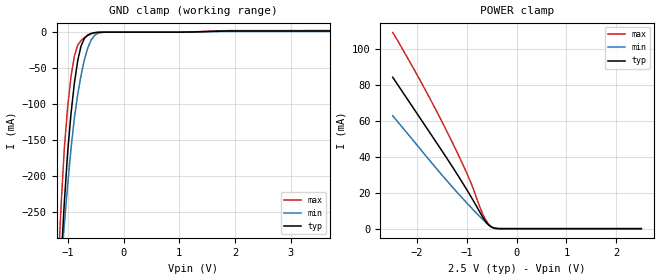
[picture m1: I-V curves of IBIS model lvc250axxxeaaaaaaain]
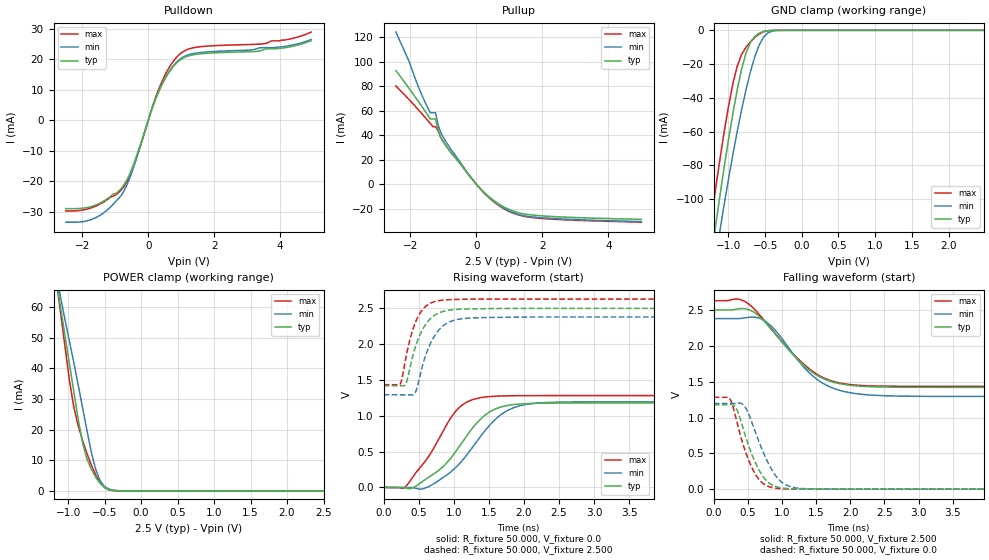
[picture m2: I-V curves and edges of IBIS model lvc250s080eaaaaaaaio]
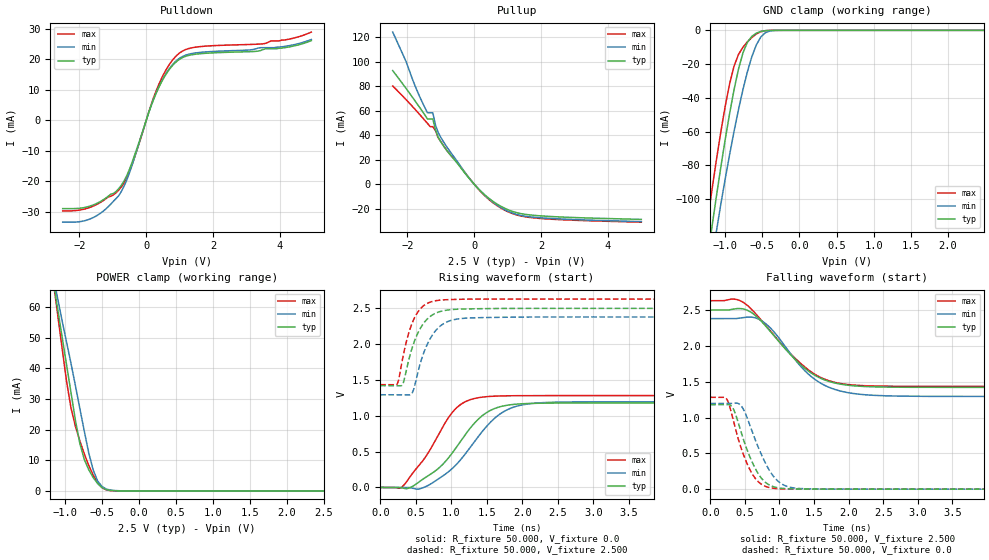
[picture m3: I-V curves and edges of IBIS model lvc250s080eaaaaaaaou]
| IBIS Models Generator: Lattice Diamond Version 3.5.0.102
| Generate date: Sun Jul 03 23:32:24 2022
| IBIS File
| Lattice Semiconductor Corporation
[IBIS ver]   4.2
[File Name]   HyperRAM_hyperram.ibs
[File Rev]   2.0
[Date]   Mon Apr 13 18:17:38 PDT 2015
[Source]   Lattice Semiconductor umc40lp Process
   LFE5U-25F   FINAL
   Lattice Semiconductor has worked hard to ensure the
   models below are accurate and complete.  However, the
   data below was generated using simulation of the
   input/output model files for the silicon.  Therefore,
   the data below is for reference and initial design
   purposes only.
   Lattice Semiconductor grants permission to use this
   data for use in printed circuit design using this
   Lattice programmable logic device.  Other use of this
   code, including the selling or duplication of any
   portion is strictly prohibited.
|   NAMING CONVENTION
   The IBIS [Model] header is limited by the specification to a
   total of characters.  With such a set of characters available
   for naming models it becomes important to attempt to
   meaningfully encode the IO standards so they fit within the
   twenty character limit.  It would seem that twenty characters
   would provide room enough for describing IO's.  However, the
   PLD IO structure continues to grow more and more complex.  The
   complexity is making the twenty characters insuffiently
   descriptive.  In order to overcome this issue the naming
   convention described below is implemented to resolve the issue.
The twenty character space is managed as follows:
   bbbvvvsdddprttaaoixx
   b = standard
   v = voltage (x.xx V)
   s = slew code
   d = drive (xx.x ma)
   p = pullmode code
   r = impedance
   t = termination code
   o = diff resistor code
   i = diff  current code
   x = reserved
   standard
   LVCMOS   lvc
   lvcmosd   lvd
   LVDS25e   lve
   LVTTL   lvt
   lvttld   ltd
   sstl_I   ss1
   sstl_II   ss2
   sstld_I   s1d
   sstld_II   s2d
   hsul12   hs1
   hsul12d   h1d
   lvds   lvs
   blvds25   blv
   blvds25e   blv
   mlvds   mlv
   mlvds25e   mle
   lvpecl33   lvp
   lvpecl33e   lvp
   sublvds   slv
   slvs   svs
   slvs15e   sve
   mipi   mip
   vref1   vr1
   slew
   na   a
   fast   f
   slow   s
   pullmode
   off   a
   clamp   e
   impedance
   off   a
   termination
   off   aa
   50   cc
   75   dd
   150   ee
   differential resistor
   off   a
   100   b
   differential current
   NA   a
   3.5   c
   Reserved   IO type
   in   input only
   ou   output
   io   I/O
   od   Open drain
   on   Inverting differential I/O
   (signal name only)
   op   Non-Inverting differential I/O
   (signal name only)
   All the IO models are generated with pull mode set to none.
   Lattice Semiconductor Corporation
   5555 NE Moore Court
   Hillsboro, OR 97214
   U.S.A
   TEL: 1-800-Lattice (USA and Canada)
   408-826-6000 (other locations)
   web: http://www.latticesemi.com/
   email: techsupport@latticesemi.com
The IBIS models by default includes the worst case package data
under [package].  If detailed package model is required , it can be
enable using [package model] keyword.
The .pkg files are included in the zip file with the IBIS models.
The .pkg file has to be located in the same directory as IBIS file.
[Disclaimer] This IBIS source code is intended as a design reference
   which illustrates how the Lattice Semiconductor device operates.
   It is the user's responsibility to verify their design for
   consistency and functionality through the use of formal
   verification methods.  Lattice Semiconductor provides no warranty
   regarding the use or functionality of this data.
[Copyright]   Copyright 2007 by Lattice Semiconductor Corporation
|   Component SAPPHIRE
[Component]   SAPPHIRE
[Manufacturer]   Lattice Semiconductor Corp.
[Package]
|CSFBGA285
| variable   typ   min   max
R_pkg   64.450m   23.9m   84m
L_pkg   1.395nH   0.37nH   2.15nH
C_pkg   0.56pF   0.19pF   0.65pF
[Pin]  signal_name   model_name   R_pin   L_pin   C_pin
M17   DQ_test[6]   lvc250s080eaaaaaaaio
M16   DQ_test[5]   lvc250s080eaaaaaaaio
L16   estado_test   lvc250s080eaaaaaaaou
L15   DQ_test[31]   lvc250s080eaaaaaaaio
L18   DQ_test[23]   lvc250s080eaaaaaaaio
K17   DQ_test[15]   lvc250s080eaaaaaaaio
K15   DQ_test[22]   lvc250s080eaaaaaaaio
K16   DQ_test[14]   lvc250s080eaaaaaaaio
K18   DQ_test[13]   lvc250s080eaaaaaaaio
J18   DQ_test[21]   lvc250s080eaaaaaaaio
J17   DQ_test[28]   lvc250s080eaaaaaaaio
J16   DQ_test[10]   lvc250s080eaaaaaaaio
H16   DQ_test[2]   lvc250s080eaaaaaaaio
H15   DQ_test[11]   lvc250s080eaaaaaaaio
G15   DQ_test[3]   lvc250s080eaaaaaaaio
C15   clk_out_test   lvc250s080eaaaaaaaou
N15   CS_n_test   lvc250s080eaaaaaaaou
N16   DQ_test[30]   lvc250s080eaaaaaaaio
N17   DQ_test[29]   lvc250s080eaaaaaaaio
M18   DQ_test[7]   lvc250s080eaaaaaaaio
N18   DQ_test[9]   lvc250s080eaaaaaaaio
R18   DQ_test[8]   lvc250s080eaaaaaaaio
T18   reset_test   lvc250axxxeaaaaaaain
U18   DQ_test[12]   lvc250s080eaaaaaaaio
R17   DQ_test[24]   lvc250s080eaaaaaaaio
T17   DQ_test[25]   lvc250s080eaaaaaaaio
U17   DQ_test[0]   lvc250s080eaaaaaaaio
V17   DQ_test[1]   lvc250s080eaaaaaaaio
R16   DQ_test[20]   lvc250s080eaaaaaaaio
B10   clk_in_test   lvc250axxxeaaaaaaain
M2   DQ_test[18]   lvc250s080eaaaaaaaio
K2   DQ_test[19]   lvc250s080eaaaaaaaio
K3   DQ_test[27]   lvc250s080eaaaaaaaio
M3   DQ_test[26]   lvc250s080eaaaaaaaio
L4   DQ_test[16]   lvc250s080eaaaaaaaio
K4   DQ_test[17]   lvc250s080eaaaaaaaio
J1   DQ_test[4]   lvc250s080eaaaaaaaio
| Models and submodels in the file (3): lvc250axxxeaaaaaaain (Input), lvc250s080eaaaaaaaio (I/O), lvc250s080eaaaaaaaou (Output)
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[Model] lvc250axxxeaaaaaaain
Model_type Input
Polarity   Non-Inverting
Vinl =  0.700V
Vinh =  1.700V
C_comp   3.899pF   3.881pF   3.925pF
[Temperature Range]   25.000   0.125k   -40.000
[Voltage Range]   2.500V   2.380V   2.630V
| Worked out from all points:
|   GND clamp passes 1 mA (typ) near -0.54 V on its own axis
|   POWER clamp passes 1 mA (typ) near -0.51 V on its own axis
[GND_clamp]
|Voltage   I(typ)   I(min)   I(max)
-2.5V     -3.07A     -2.187A    -4.081A
-1.18V    -407.1mA   -387.7mA   -341.4mA
-1.12V    -318.4mA   -325.7mA   -243.5mA
-1.06V    -236.4mA   -267.1mA   -161.1mA
-1V       -166.1mA   -212mA     -103.6mA
-940mV    -112.8mA   -161.5mA   -61.35mA
-820mV    -39.36mA   -86.41mA   -17.99mA
-760mV    -19.05mA   -59.65mA   -11.43mA
-640mV    -3.861mA   -21.85mA   -4.556mA
-520mV    -690.7uA   -4.492mA   -828.9uA
-340mV    -8.603uA   -109.8uA   -6.557uA
4.98V     1.752mA    1.203mA    2.322mA
[POWER_clamp]
|Voltage   I(typ)   I(min)   I(max)
-2.48V    84.32mA    62.88mA    109.3mA
-1.94V    61.91mA    44.74mA    83.06mA
-1.46V    41.93mA    28.79mA    57.77mA
-1.16V    29.03mA    19.33mA    40.78mA
-980mV    20.95mA    13.86mA    29.88mA
-860mV    15.32mA    10.31mA    21.76mA
-740mV    9.474mA    6.847mA    12.43mA
-680mV    6.568mA    5.18mA     8.377mA
-560mV    2.092mA    2.141mA    2.486mA
-500mV    818.1uA    1.015mA    868.6uA
-320mV    4.853uA    22.67uA    1.291uA
2.5V      -341.3nA   -32nA      -512.6nA
[Model] lvc250s080eaaaaaaaio
Model_type I/O
Polarity   Non-Inverting
Enable   Active-Low
Vinl =  0.700V
Vinh =  1.700V
Vmeas =  1.250V
Cref =  0.0F
Rref =  1.000M
Vref =  0.0V
C_comp   5.000pF   4.000pF   5.500pF
[Temperature Range]   25.000   0.125k   -40.000
[Voltage Range]   2.500V   2.380V   2.630V
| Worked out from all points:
|   slope of the pulldown table from 0 to 0.375 V, typ, clamps not added: 34.9 ohm
|   slope of the pullup table from 0 to 0.375 V, typ, clamps not added: 37.3 ohm
|   GND clamp passes 1 mA (typ) near -0.54 V on its own axis
|   POWER clamp passes 1 mA (typ) near -0.49 V on its own axis
|   rising waveform, R_fixture 50.000, V_fixture 0.0: 20-80 % time 588ps typ, 614ps min, 495ps max; typ from 0 V to 1.18 V
|   rising waveform, R_fixture 50.000, V_fixture 2.500: 20-80 % time 238ps typ, 252ps min, 203ps max; typ from 1.42 V to 2.5 V
|   falling waveform, R_fixture 50.000, V_fixture 2.500: 20-80 % time 640ps typ, 594ps min, 698ps max; typ from 2.5 V to 1.42 V
|   falling waveform, R_fixture 50.000, V_fixture 0.0: 20-80 % time 281ps typ, 321ps min, 265ps max; typ from 1.18 V to 0 V
[Pulldown]
|Voltage   I(typ)   I(min)   I(max)
-2.5V     -29mA      -33.45mA   -29.74mA
-1.54V    -27.59mA   -31.68mA   -27.93mA
-1.14V    -24.97mA   -28.41mA   -25.2mA
-740mV    -21.24mA   -23.27mA   -21.81mA
-420mV    -13.7mA    -14.59mA   -14.42mA
60mV      2.026mA    2.064mA    2.192mA
300mV     8.946mA    9.108mA    9.732mA
620mV     15.57mA    15.83mA    17.06mA
940mV     19.56mA    19.88mA    21.55mA
1.42V     21.58mA    21.99mA    23.88mA
3.5V      23.2mA     23.8mA     25.08mA
4.94V     26.12mA    26.49mA    28.92mA
[Pullup]
|Voltage   I(typ)   I(min)   I(max)
-2.44V    92.93mA    124.4mA    80.33mA
-2.04V    78.33mA    100.3mA    69.18mA
-1.48V    56.75mA    62.79mA    52.24mA
-1.4V     53.32mA    58.48mA    49.81mA
-1.24V    53.32mA    58.48mA    47.1mA
-1.16V    44.56mA    48.35mA    43.82mA
-1V       34.69mA    38.28mA    34.86mA
-120mV    3.778mA    3.962mA    4.059mA
520mV     -13.17mA   -13.8mA    -14.24mA
1.08V     -21.58mA   -22.85mA   -23.28mA
1.64V     -24.99mA   -26.54mA   -27.06mA
5V        -28.73mA   -30.54mA   -31.01mA
[GND_clamp]
|Voltage   I(typ)   I(min)   I(max)
-2.5V     -600.3mA   -576.2mA   -594.4mA
-1.24V    -136mA     -154.5mA   -113.9mA
-1.18V    -117.2mA   -136.7mA   -95.27mA
-1.12V    -99.04mA   -119.7mA   -77.45mA
-1V       -64.9mA    -88.21mA   -45.19mA
-880mV    -35.12mA   -59.82mA   -21.21mA
-760mV    -13.33mA   -35.03mA   -10mA
-700mV    -7.01mA    -24.46mA   -6.829mA
-580mV    -1.679mA   -8.593mA   -2.127mA
-460mV    -210.1uA   -1.441mA   -213.7uA
-340mV    -8.598uA   -109.2uA   -6.553uA
2.48V     0A         0A         0A
[POWER_clamp]
|Voltage   I(typ)   I(min)   I(max)
-2.48V    301.8mA    269mA      334.4mA
-1.16V    68.59mA    70.21mA    68.47mA
-1.1V     59.33mA    62.74mA    57.51mA
-980mV    41.18mA    48.59mA    35.82mA
-920mV    32.13mA    41.65mA    27.11mA
-860mV    23.04mA    34.34mA    21.08mA
-800mV    15.49mA    26.9mA     16.35mA
-740mV    10.29mA    19.52mA    12.1mA
-620mV    4.381mA    6.888mA    5.184mA
-560mV    2.412mA    3.25mA     2.719mA
-440mV    397.7uA    604uA      311uA
2.5V      0A         0A         0A
[Ramp]
| variable   typ   min   max
dV/dt_r 0.707/0.589n   0.717/0.626n   0.769/0.501n
dV/dt_f 0.647/0.648n   0.652/0.602n   0.717/0.706n
R_load = 50.000
[Rising Waveform]
R_fixture= 50.000
V_fixture= 0.0
V_fixture_min= 0.0
V_fixture_max= 0.0
|time   V(typ)   V(min)   V(max)
0s        0V         0V         0V
302ps     -5.322mV   -135.2uV   4mV
424ps     -18.48uV   -4.353mV   156.7mV
681ps     168mV      32.1mV     493.5mV
870ps     313.4mV    153.5mV    828.5mV
1.053ns   535.9mV    302.4mV    1.092V
1.429ns   996.8mV    773.6mV    1.26V
1.788ns   1.148V     1.085V     1.279V
2.303ns   1.176V     1.185V     1.282V
10ns      1.179V     1.196V     1.282V
[Rising Waveform]
R_fixture= 50.000
V_fixture= 2.500
V_fixture_min= 2.380
V_fixture_max= 2.630
|time   V(typ)   V(min)   V(max)
0s        1.421V     1.294V     1.435V
240ps     1.421V     1.294V     1.448V
320ps     1.45V      1.294V     1.827V
439ps     1.919V     1.303V     2.27V
524ps     2.145V     1.589V     2.442V
629ps     2.316V     1.926V     2.551V
824ps     2.45V      2.237V     2.613V
1.074ns   2.488V     2.35V      2.626V
1.661ns   2.499V     2.375V     2.63V
10ns      2.5V       2.38V      2.63V
[Falling Waveform]
R_fixture= 50.000
V_fixture= 2.500
V_fixture_min= 2.380
V_fixture_max= 2.630
|time   V(typ)   V(min)   V(max)
0s        2.5V       2.38V      2.63V
412ps     2.521V     2.386V     2.638V
563ps     2.484V     2.402V     2.542V
723ps     2.359V     2.361V     2.375V
914ps     2.149V     2.203V     2.155V
1.406ns   1.657V     1.617V     1.675V
1.654ns   1.524V     1.449V     1.535V
1.956ns   1.455V     1.353V     1.464V
2.933ns   1.422V     1.296V     1.435V
10ns      1.421V     1.294V     1.435V
[Falling Waveform]
R_fixture= 50.000
V_fixture= 0.0
V_fixture_min= 0.0
V_fixture_max= 0.0
|time   V(typ)   V(min)   V(max)
0s        1.179V     1.196V     1.282V
243ps     1.181V     1.196V     1.249V
332ps     1.122V     1.198V     962.6mV
442ps     808.2mV    1.168V     585.3mV
652ps     285.8mV    685.3mV    148.2mV
766ps     123.7mV    426.2mV    53.02mV
903ps     37.7mV     192.5mV    13.99mV
1.104ns   6.835mV    40.59mV    2.834mV
1.432ns   1.588mV    4.13mV     1.107mV
10ns      0V         0V         0V
[Model] lvc250s080eaaaaaaaou
Model_type  Output
Polarity   Non-Inverting
Enable   Active-Low
Vmeas =  1.250V
Cref =  0.0F
Rref =  1.000M
Vref =  0.0V
C_comp   5.000pF   4.000pF   5.500pF
[Temperature Range]   25.000   0.125k   -40.000
[Voltage Range]   2.500V   2.380V   2.630V
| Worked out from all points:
|   slope of the pulldown table from 0 to 0.375 V, typ, clamps not added: 34.9 ohm
|   slope of the pullup table from 0 to 0.375 V, typ, clamps not added: 37.3 ohm
|   GND clamp passes 1 mA (typ) near -0.54 V on its own axis
|   POWER clamp passes 1 mA (typ) near -0.49 V on its own axis
|   rising waveform, R_fixture 50.000, V_fixture 0.0: 20-80 % time 588ps typ, 614ps min, 495ps max; typ from 0 V to 1.18 V
|   rising waveform, R_fixture 50.000, V_fixture 2.500: 20-80 % time 238ps typ, 252ps min, 203ps max; typ from 1.42 V to 2.5 V
|   falling waveform, R_fixture 50.000, V_fixture 2.500: 20-80 % time 640ps typ, 594ps min, 698ps max; typ from 2.5 V to 1.42 V
|   falling waveform, R_fixture 50.000, V_fixture 0.0: 20-80 % time 281ps typ, 321ps min, 265ps max; typ from 1.18 V to 0 V
[Pulldown]
|Voltage   I(typ)   I(min)   I(max)
-2.5V     -29mA      -33.45mA   -29.74mA
-1.54V    -27.59mA   -31.68mA   -27.93mA
-1.14V    -24.97mA   -28.41mA   -25.2mA
-740mV    -21.24mA   -23.27mA   -21.81mA
-420mV    -13.7mA    -14.59mA   -14.42mA
60mV      2.026mA    2.064mA    2.192mA
300mV     8.946mA    9.108mA    9.732mA
620mV     15.57mA    15.83mA    17.06mA
940mV     19.56mA    19.88mA    21.55mA
1.42V     21.58mA    21.99mA    23.88mA
3.5V      23.2mA     23.8mA     25.08mA
4.94V     26.12mA    26.49mA    28.92mA
[Pullup]
|Voltage   I(typ)   I(min)   I(max)
-2.44V    92.93mA    124.4mA    80.33mA
-2.04V    78.33mA    100.3mA    69.18mA
-1.48V    56.75mA    62.79mA    52.24mA
-1.4V     53.32mA    58.48mA    49.81mA
-1.24V    53.32mA    58.48mA    47.1mA
-1.16V    44.56mA    48.35mA    43.82mA
-1V       34.69mA    38.28mA    34.86mA
-120mV    3.778mA    3.962mA    4.059mA
520mV     -13.17mA   -13.8mA    -14.24mA
1.08V     -21.58mA   -22.85mA   -23.28mA
1.64V     -24.99mA   -26.54mA   -27.06mA
5V        -28.73mA   -30.54mA   -31.01mA
[GND_clamp]
|Voltage   I(typ)   I(min)   I(max)
-2.5V     -600.3mA   -576.2mA   -594.4mA
-1.24V    -136mA     -154.5mA   -113.9mA
-1.18V    -117.2mA   -136.7mA   -95.27mA
-1.12V    -99.04mA   -119.7mA   -77.45mA
-1V       -64.9mA    -88.21mA   -45.19mA
-880mV    -35.12mA   -59.82mA   -21.21mA
-760mV    -13.33mA   -35.03mA   -10mA
-700mV    -7.01mA    -24.46mA   -6.829mA
-580mV    -1.679mA   -8.593mA   -2.127mA
-460mV    -210.1uA   -1.441mA   -213.7uA
-340mV    -8.598uA   -109.2uA   -6.553uA
2.48V     0A         0A         0A
[POWER_clamp]
|Voltage   I(typ)   I(min)   I(max)
-2.48V    301.8mA    269mA      334.4mA
-1.16V    68.59mA    70.21mA    68.47mA
-1.1V     59.33mA    62.74mA    57.51mA
-980mV    41.18mA    48.59mA    35.82mA
-920mV    32.13mA    41.65mA    27.11mA
-860mV    23.04mA    34.34mA    21.08mA
-800mV    15.49mA    26.9mA     16.35mA
-740mV    10.29mA    19.52mA    12.1mA
-620mV    4.381mA    6.888mA    5.184mA
-560mV    2.412mA    3.25mA     2.719mA
-440mV    397.7uA    604uA      311uA
2.5V      0A         0A         0A
[Ramp]
| variable   typ   min   max
dV/dt_r 0.707/0.589n   0.717/0.626n   0.769/0.501n
dV/dt_f 0.647/0.648n   0.652/0.602n   0.717/0.706n
R_load = 50.000
[Rising Waveform]
R_fixture= 50.000
V_fixture= 0.0
V_fixture_min= 0.0
V_fixture_max= 0.0
|time   V(typ)   V(min)   V(max)
0s        0V         0V         0V
302ps     -5.322mV   -135.2uV   4mV
424ps     -18.48uV   -4.353mV   156.7mV
681ps     168mV      32.1mV     493.5mV
870ps     313.4mV    153.5mV    828.5mV
1.053ns   535.9mV    302.4mV    1.092V
1.429ns   996.8mV    773.6mV    1.26V
1.788ns   1.148V     1.085V     1.279V
2.303ns   1.176V     1.185V     1.282V
10ns      1.179V     1.196V     1.282V
[Rising Waveform]
R_fixture= 50.000
V_fixture= 2.500
V_fixture_min= 2.380
V_fixture_max= 2.630
|time   V(typ)   V(min)   V(max)
0s        1.421V     1.294V     1.435V
240ps     1.421V     1.294V     1.448V
320ps     1.45V      1.294V     1.827V
439ps     1.919V     1.303V     2.27V
524ps     2.145V     1.589V     2.442V
629ps     2.316V     1.926V     2.551V
824ps     2.45V      2.237V     2.613V
1.074ns   2.488V     2.35V      2.626V
1.661ns   2.499V     2.375V     2.63V
10ns      2.5V       2.38V      2.63V
[Falling Waveform]
R_fixture= 50.000
V_fixture= 2.500
V_fixture_min= 2.380
V_fixture_max= 2.630
|time   V(typ)   V(min)   V(max)
0s        2.5V       2.38V      2.63V
412ps     2.521V     2.386V     2.638V
563ps     2.484V     2.402V     2.542V
723ps     2.359V     2.361V     2.375V
914ps     2.149V     2.203V     2.155V
1.406ns   1.657V     1.617V     1.675V
1.654ns   1.524V     1.449V     1.535V
1.956ns   1.455V     1.353V     1.464V
2.933ns   1.422V     1.296V     1.435V
10ns      1.421V     1.294V     1.435V
[Falling Waveform]
R_fixture= 50.000
V_fixture= 0.0
V_fixture_min= 0.0
V_fixture_max= 0.0
|time   V(typ)   V(min)   V(max)
0s        1.179V     1.196V     1.282V
243ps     1.181V     1.196V     1.249V
332ps     1.122V     1.198V     962.6mV
442ps     808.2mV    1.168V     585.3mV
652ps     285.8mV    685.3mV    148.2mV
766ps     123.7mV    426.2mV    53.02mV
903ps     37.7mV     192.5mV    13.99mV
1.104ns   6.835mV    40.59mV    2.834mV
1.432ns   1.588mV    4.13mV     1.107mV
10ns      0V         0V         0V
